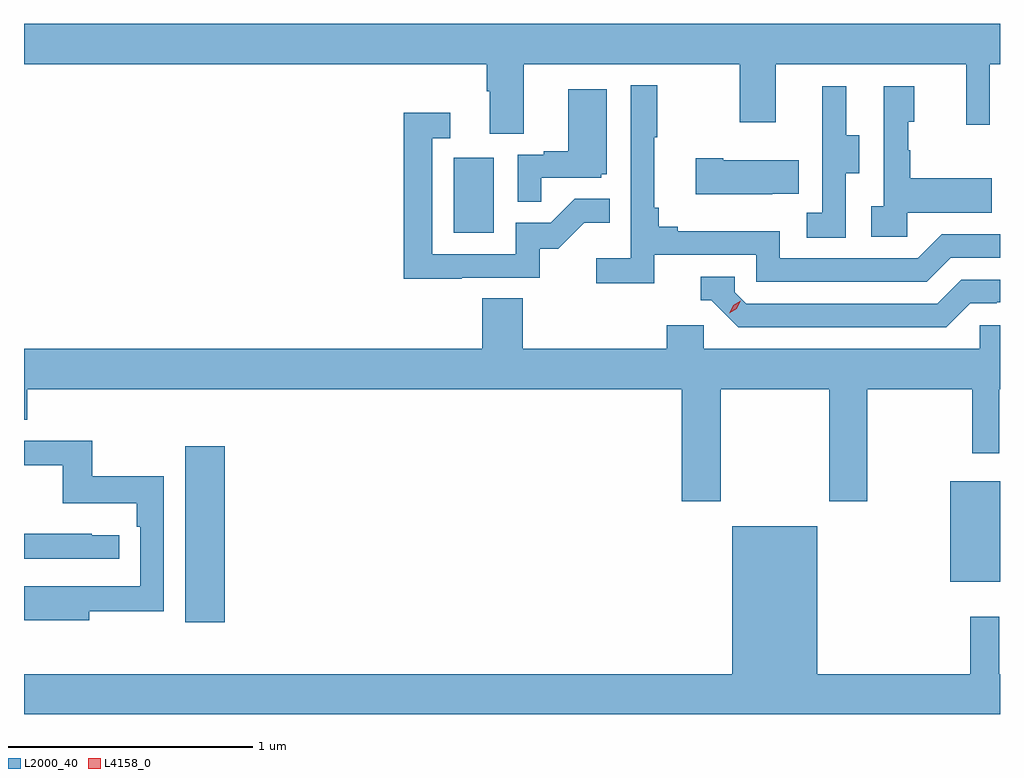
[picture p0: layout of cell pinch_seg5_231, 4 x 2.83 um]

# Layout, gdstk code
import gdstk
lib = gdstk.Library(unit=1e-6, precision=1e-09)
def R(c, l, rs):  # rectangles x0, y0, x1, y1
    for r in rs: c.add(gdstk.rectangle(r[:2], r[2:], *l))
def P(c, l, *ps):  # polygons
    for p in ps: c.add(gdstk.Polygon(p, *l))
L2000_40 = (2000, 40)
L4158_0 = (4158, 0)

pinch_seg5_231 = lib.new_cell('pinch_seg5_231')
R(pinch_seg5_231, L2000_40, [(963.197,894.432,963.358,895.153), (966.332,894.599,966.536,895.009), (964.298,896.028,964.462,896.335)])
P(pinch_seg5_231, L2000_40, [(964.585,896.72),(965.47,896.72),(965.47,896.481),(965.617,896.481),(965.617,896.72),(966.398,896.72),(966.398,896.472),(966.495,896.472),(966.495,896.72),(966.536,896.72),(966.536,896.884),(962.536,896.884),(962.536,896.72),(964.433,896.72),(964.433,896.608),(964.445,896.608),(964.445,896.434),(964.585,896.434)],
  [(965.12,895.938),(965.538,895.938),(965.538,895.827),(966.235,895.827),(966.334,895.926),(966.536,895.926),(966.536,896.022),(966.297,896.022),(966.198,895.923),(965.634,895.923),(965.634,896.035),(965.215,896.035),(965.215,896.054),(965.138,896.054),(965.138,896.131),(965.119,896.131),(965.119,896.419),(965.131,896.419),(965.131,896.632),(965.022,896.632),(965.022,895.924),(964.881,895.924),(964.881,895.822),(965.12,895.822)],
  [(965.904,896.272),(965.959,896.272),(965.959,896.427),(965.905,896.427),(965.905,896.629),(965.807,896.629),(965.807,896.415),(965.808,896.415),(965.808,896.111),(965.745,896.111),(965.745,896.008),(965.904,896.008)],
  [(966.156,896.111),(966.503,896.111),(966.503,896.251),(966.169,896.251),(966.169,896.366),(966.159,896.366),(966.159,896.484),(966.184,896.484),(966.184,896.629),(966.06,896.629),(966.06,896.138),(966.009,896.138),(966.009,896.013),(966.156,896.013)],
  [(964.655,896.253),(964.902,896.253),(964.902,896.268),(964.924,896.268),(964.924,896.617),(964.766,896.617),(964.766,896.362),(964.667,896.362),(964.667,896.349),(964.56,896.349),(964.56,896.155),(964.655,896.155)],
  [(964.331,895.845),(964.65,895.845),(964.65,895.962),(964.726,895.962),(964.833,896.069),(964.937,896.069),(964.937,896.168),(964.793,896.168),(964.695,896.07),(964.551,896.07),(964.551,895.941),(964.209,895.941),(964.209,896.415),(964.282,896.415),(964.282,896.521),(964.093,896.521),(964.093,895.84),(964.331,895.84)],
  [(965.603,896.189),(965.711,896.189),(965.711,896.326),(965.401,896.326),(965.401,896.334),(965.289,896.334),(965.289,896.186),(965.603,896.186)],
  [(966.415,895.74),(966.522,895.74),(966.522,895.743),(966.536,895.743),(966.536,895.836),(966.378,895.836),(966.279,895.737),(965.496,895.737),(965.448,895.785),(965.448,895.848),(965.309,895.848),(965.309,895.752),(965.352,895.752),(965.463,895.641),(966.316,895.641)],
  [(965.391,895.388),(965.836,895.388),(965.836,894.927),(965.991,894.927),(965.991,895.388),(966.423,895.388),(966.423,895.125),(966.532,895.125),(966.532,895.388),(966.536,895.388),(966.536,895.65),(966.453,895.65),(966.453,895.552),(965.322,895.552),(965.322,895.65),(965.171,895.65),(965.171,895.552),(964.58,895.552),(964.58,895.76),(964.415,895.76),(964.415,895.552),(962.536,895.552),(962.536,895.261),(962.549,895.261),(962.549,895.388),(965.231,895.388),(965.231,894.927),(965.391,894.927)],
  [(962.803,894.478),(963.108,894.478),(963.108,895.03),(962.815,895.03),(962.815,895.176),(962.536,895.176),(962.536,895.075),(962.694,895.075),(962.694,894.92),(962.999,894.92),(962.999,894.824),(963.012,894.824),(963.012,894.579),(962.699,894.579),(962.699,894.58),(962.536,894.58),(962.536,894.44),(962.803,894.44)],
  [(966.536,894.22),(966.533,894.22),(966.533,894.454),(966.415,894.454),(966.415,894.22),(965.788,894.22),(965.788,894.826),(965.438,894.826),(965.438,894.22),(962.536,894.22),(962.536,894.056),(966.536,894.056)],
  [(962.926,894.789),(962.813,894.789),(962.813,894.794),(962.536,894.794),(962.536,894.693),(962.926,894.693)])
P(pinch_seg5_231, L4158_0, [(965.426,895.698),(965.426,895.698),(965.442,895.731),(965.473,895.749),(965.473,895.749),(965.473,895.749),(965.457,895.717),(965.426,895.698)])

lib.write_gds('pinch_seg5_231.gds')
